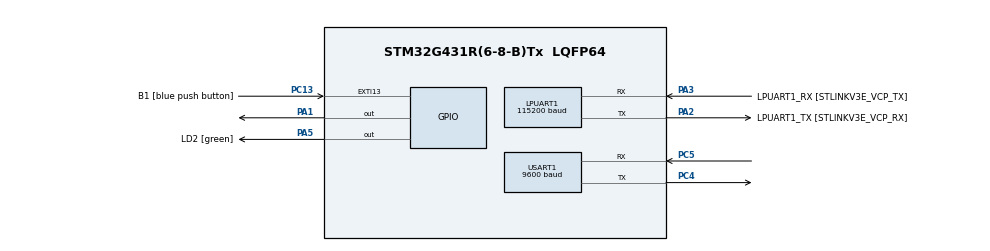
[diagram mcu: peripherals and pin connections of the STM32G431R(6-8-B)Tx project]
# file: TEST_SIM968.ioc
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LPUART1.BaudRate=115200
LPUART1.WordLength=UART_WORDLENGTH_8B
Mcu.Family=STM32G4
Mcu.Name=STM32G431R(6-8-B)Tx
Mcu.Package=LQFP64
NVIC.PriorityGroup=NVIC_PRIORITYGROUP_4
NVIC.TIM1_TRG_COM_TIM17_IRQn=true\:15\:0\:false\:false\:true\:false\:true\:true
NVIC.TimeBase=TIM1_TRG_COM_TIM17_IRQn
NVIC.TimeBaseIP=TIM17
NVIC.USART1_IRQn=true\:0\:0\:false\:false\:true\:true\:true\:true
PA1.Signal=GPIO_Output
PA13.Mode=Serial_Wire
PA13.Signal=SYS_JTMS-SWDIO
PA14.Mode=Serial_Wire
PA14.Signal=SYS_JTCK-SWCLK
PA2.GPIO_Label=LPUART1_TX [STLINKV3E_VCP_RX]
PA2.Mode=Asynchronous
PA2.Signal=LPUART1_TX
PA3.GPIO_Label=LPUART1_RX [STLINKV3E_VCP_TX]
PA3.Mode=Asynchronous
PA3.Signal=LPUART1_RX
PA5.GPIO_Label=LD2 [green]
PA5.Signal=GPIO_Output
PC13.GPIO_Label=B1 [blue push button]
PC13.Signal=GPXTI13
PC14-OSC32_IN.Mode=LSE-External-Oscillator
PC14-OSC32_IN.Signal=RCC_OSC32_IN
PC15-OSC32_OUT.Mode=LSE-External-Oscillator
PC15-OSC32_OUT.Signal=RCC_OSC32_OUT
PC4.Mode=Asynchronous
PC4.Signal=USART1_TX
PC5.Mode=Asynchronous
PC5.Signal=USART1_RX
PF0-OSC_IN.Mode=HSE-External-Oscillator
PF0-OSC_IN.Signal=RCC_OSC_IN
PF1-OSC_OUT.Mode=HSE-External-Oscillator
PF1-OSC_OUT.Signal=RCC_OSC_OUT
ProjectManager.HeapSize=0x2000
ProjectManager.StackSize=0x4000
ProjectManager.TargetToolchain=Makefile
RCC.ADC12Freq_Value=170000000
RCC.AHBFreq_Value=170000000
RCC.APB1Freq_Value=170000000
RCC.APB1TimFreq_Value=170000000
RCC.APB2Freq_Value=170000000
RCC.APB2TimFreq_Value=170000000
RCC.CortexFreq_Value=170000000
RCC.EXTERNAL_CLOCK_VALUE=12288000
RCC.HCLKFreq_Value=170000000
RCC.HSE_VALUE=24000000
RCC.HSI48_VALUE=48000000
RCC.HSI_VALUE=16000000
RCC.PLLM=RCC_PLLM_DIV4
RCC.PLLN=85
RCC.RTCClockSelection=RCC_RTCCLKSOURCE_LSE
RCC.SYSCLKFreq_VALUE=170000000
RCC.SYSCLKSource=RCC_SYSCLKSOURCE_PLLCLK
RCC.USBFreq_Value=170000000
RCC.VCOOutputFreq_Value=340000000
USART1.BaudRate=9600
USART1.VirtualMode-Asynchronous=VM_ASYNC
VP_SYS_VS_DBSignals.Mode=DisableDeadBatterySignals
VP_SYS_VS_tim17.Mode=TIM17
board=NUCLEO-G431RB

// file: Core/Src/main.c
/* USER CODE BEGIN Header */
/**
  ******************************************************************************
  * @file           : main.c
  * @brief          : Main program body
  ******************************************************************************
  * @attention
  *
  * Copyright (c) 2022 STMicroelectronics.
  * All rights reserved.
  *
  * This software is licensed under terms that can be found in the LICENSE file
  * in the root directory of this software component.
  * If no LICENSE file comes with this software, it is provided AS-IS.
  *
  ******************************************************************************
  */
/* USER CODE END Header */
#include "main.h"
#include "usart.h"
#include "gpio.h"

/* USER CODE BEGIN Includes */
#include <stdio.h>
/* USER CODE END Includes */

void SystemClock_Config(void);

/* USER CODE BEGIN 0 */
struct __FILE
{
  int handle;

  /* Whatever you require here. If the only file you are using is */
  /* standard output using printf() for debugging, no file handling */
  /* is required. */
};

/* FILE is typedef'd in stdio.h. */

FILE __stdout;

//int fputc(int ch, FILE *f)
int _write(int file, char *ptr, int len)
{

  /* example: write a character to an LCD */
  for (int i=0; i<len; i++)
  {
   while (!LL_LPUART_IsActiveFlag_TXE_TXFNF(LPUART1)) {}
   LL_LPUART_TransmitData8(LPUART1, *ptr);
   ptr++;
  }
   return len;
}
/* USER CODE END 0 */

int main(void)
{

  /* MCU Configuration--------------------------------------------------------*/

  /* Reset of all peripherals, Initializes the Flash interface and the Systick. */
  HAL_Init();

  /* Configure the system clock */
  SystemClock_Config();

  /* Initialize all configured peripherals */
  MX_GPIO_Init();
  MX_LPUART1_UART_Init();
  MX_USART1_UART_Init();
  /* USER CODE BEGIN 2 */

  printf("test uart\r\n");

  gsm_init();
  gsm_power(1);
 // gsm_waitForRegister(5);
  gsm_waitForRegister(30);
  gsm_msg_deleteAll();
  /* USER CODE END 2 */

  /* Infinite loop */
  while (1)
  {
    gsm_loop();
  }
}

void SystemClock_Config(void)
{
  LL_FLASH_SetLatency(LL_FLASH_LATENCY_4);
  while(LL_FLASH_GetLatency() != LL_FLASH_LATENCY_4)
  {
  }
  LL_PWR_EnableRange1BoostMode();
  LL_RCC_HSI_Enable();
   /* Wait till HSI is ready */
  while(LL_RCC_HSI_IsReady() != 1)
  {
  }

  LL_RCC_HSI_SetCalibTrimming(64);
  LL_RCC_PLL_ConfigDomain_SYS(LL_RCC_PLLSOURCE_HSI, LL_RCC_PLLM_DIV_4, 85, LL_RCC_PLLR_DIV_2);
  LL_RCC_PLL_EnableDomain_SYS();
  LL_RCC_PLL_Enable();
   /* Wait till PLL is ready */
  while(LL_RCC_PLL_IsReady() != 1)
  {
  }

  LL_RCC_SetSysClkSource(LL_RCC_SYS_CLKSOURCE_PLL);
  LL_RCC_SetAHBPrescaler(LL_RCC_SYSCLK_DIV_2);
   /* Wait till System clock is ready */
  while(LL_RCC_GetSysClkSource() != LL_RCC_SYS_CLKSOURCE_STATUS_PLL)
  {
  }

  /* Insure 1µs transition state at intermediate medium speed clock based on DWT */
  CoreDebug->DEMCR |= CoreDebug_DEMCR_TRCENA_Msk;
  DWT->CTRL |= DWT_CTRL_CYCCNTENA_Msk;
  DWT->CYCCNT = 0;
  while(DWT->CYCCNT < 100);
  /* Set AHB prescaler*/
  LL_RCC_SetAHBPrescaler(LL_RCC_SYSCLK_DIV_1);
  LL_RCC_SetAPB1Prescaler(LL_RCC_APB1_DIV_1);
  LL_RCC_SetAPB2Prescaler(LL_RCC_APB2_DIV_1);
  LL_SetSystemCoreClock(170000000);

   /* Update the time base */
  if (HAL_InitTick (TICK_INT_PRIORITY) != HAL_OK)
  {
    Error_Handler();
  }
}

void HAL_TIM_PeriodElapsedCallback(TIM_HandleTypeDef *htim)
{
  if (htim->Instance == TIM17) {
    HAL_IncTick();
  }
}

void Error_Handler(void)
{
  __disable_irq();
  while (1)
  {
  }
}
